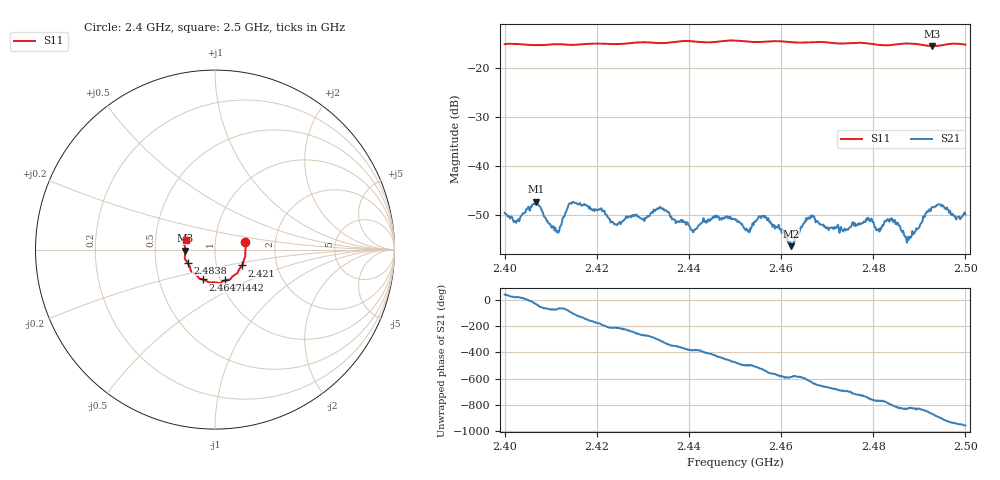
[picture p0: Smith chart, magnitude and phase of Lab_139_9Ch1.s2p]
# Hz S RI R 50
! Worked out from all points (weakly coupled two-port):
!   601 points, 2.4 GHz to 2.5 GHz, reference 50 ohm
!   highest |S21| = -47.41 dB at 2.4068 GHz (marker M1); lowest = -56.5 dB at 2.4622 GHz (marker M2)
!   lowest |S11| = -15.6 dB at 2.4928 GHz (marker M3), VSWR 1.40, Z = 35.8 - j0.382 ohm
!   |S11| at or under -10 dB: start of sweep to end of sweep
!   S12 and S22 are empty: the file has one direction only
!   S11 on the Smith chart (normalised r, x): 2.4 GHz: 1.40, +0.12; 2.421 GHz: 1.33, -0.24; 2.4442 GHz: 1.05, -0.37; 2.4647 GHz: 0.83, -0.29; 2.4838 GHz: 0.73, -0.11; 2.5 GHz: 0.72, +0.08
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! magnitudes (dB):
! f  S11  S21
! 2.4 GHz  -15.2  -49.7
! 2.4068 GHz  -15.4  -47.4
! 2.4113 GHz  -15.2  -53.6
! 2.4143 GHz  -15.4  -47.7
! 2.4167 GHz  -15.3  -48.2
! 2.421 GHz  -15.1  -48.7
! 2.4242 GHz  -15.2  -52.0
! 2.4333 GHz  -15.0  -48.9
! 2.4408 GHz  -14.6  -53.6
! 2.4442 GHz  -14.9  -51.0
! 2.45 GHz  -14.5  -50.9
! 2.4527 GHz  -14.7  -53.1
! 2.4563 GHz  -14.7  -50.6
! 2.4622 GHz  -14.8  -56.5
! 2.4647 GHz  -14.9  -52.2
! 2.4667 GHz  -14.8  -50.4
! 2.4732 GHz  -15.1  -53.0
! 2.4833 GHz  -15.5  -51.2
! 2.4838 GHz  -15.4  -51.2
! 2.4877 GHz  -15.1  -55.2
! 2.4928 GHz  -15.6  -48.5
! 2.5 GHz  -15.3  -49.9
